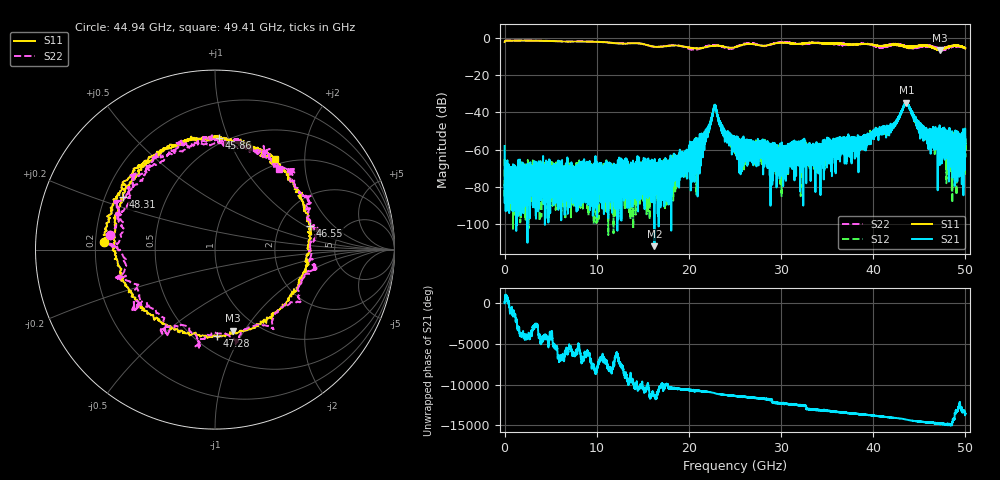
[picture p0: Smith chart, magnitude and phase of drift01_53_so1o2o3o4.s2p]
!Created with skrf (http://scikit-rf.org).
# Hz S RI R 50.0
!freq ReS11 ImS11 ReS21 ImS21 ReS12 ImS12 ReS22 ImS22
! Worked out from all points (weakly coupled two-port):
!   10001 points, 300 kHz to 50 GHz, reference 50 ohm
!   highest |S21| = -34.75 dB at 43.6 GHz (marker M1); lowest = -112.0 dB at 16.26 GHz (marker M2)
!   lowest |S11| = -6.7 dB at 47.2 GHz (marker M3), VSWR 2.72, Z = 38.8 - j44.4 ohm
!   |S11| at or under -10 dB: nowhere
!   |S22| runs from -6.8 to -1.4 dB; largest |S21 - S12| = 0.0038
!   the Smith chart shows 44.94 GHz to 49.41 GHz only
!   S11 on the Smith chart (normalised r, x): 44.94 GHz: 0.24, +0.03; 45.86 GHz: 0.46, +0.93; 46.55 GHz: 2.95, +1.12; 47.28 GHz: 0.64, -0.80; 48.31 GHz: 0.28, +0.25; 49.41 GHz: 0.91, +1.44
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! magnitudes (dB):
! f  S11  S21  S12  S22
! 300 kHz  -2.1  -58.1  -65.1  -2.1
! 265.3 MHz  -1.4  -75.7  -77.9  -1.4
! 8.335 GHz  -1.9  -79.8  -79.0  -1.8
! 16.26 GHz  -4.7  -112.0  -88.9  -4.7
! 16.67 GHz  -4.8  -95.8  -75.4  -4.8
! 20.81 GHz  -5.6  -59.8  -64.1  -6.2
! 21.73 GHz  -5.1  -53.0  -52.9  -4.8
! 22.8 GHz  -4.3  -36.3  -36.1  -4.0
! 23.73 GHz  -4.6  -49.1  -49.7  -5.0
! 25 GHz  -5.0  -58.2  -56.0  -5.1
! 29.81 GHz  -2.6  -62.3  -66.9  -2.4
! 33.34 GHz  -2.6  -60.7  -62.8  -2.6
! 41.67 GHz  -3.9  -48.7  -49.7  -4.2
! 43.6 GHz  -4.8  -34.7  -35.2  -4.9
! 44.94 GHz  -4.2  -47.4  -46.5  -4.6
! 45.86 GHz  -4.1  -51.2  -51.0  -4.4
! 46.55 GHz  -5.2  -52.3  -49.2  -4.6
! 47.2 GHz  -6.7  -50.2  -56.2  -6.1
! 47.28 GHz  -6.4  -54.6  -58.3  -5.6
! 48.31 GHz  -4.6  -48.5  -55.7  -5.2
! 49.41 GHz  -4.4  -64.9  -59.5  -4.8
! 50 GHz  -5.5  -54.5  -54.6  -5.3
